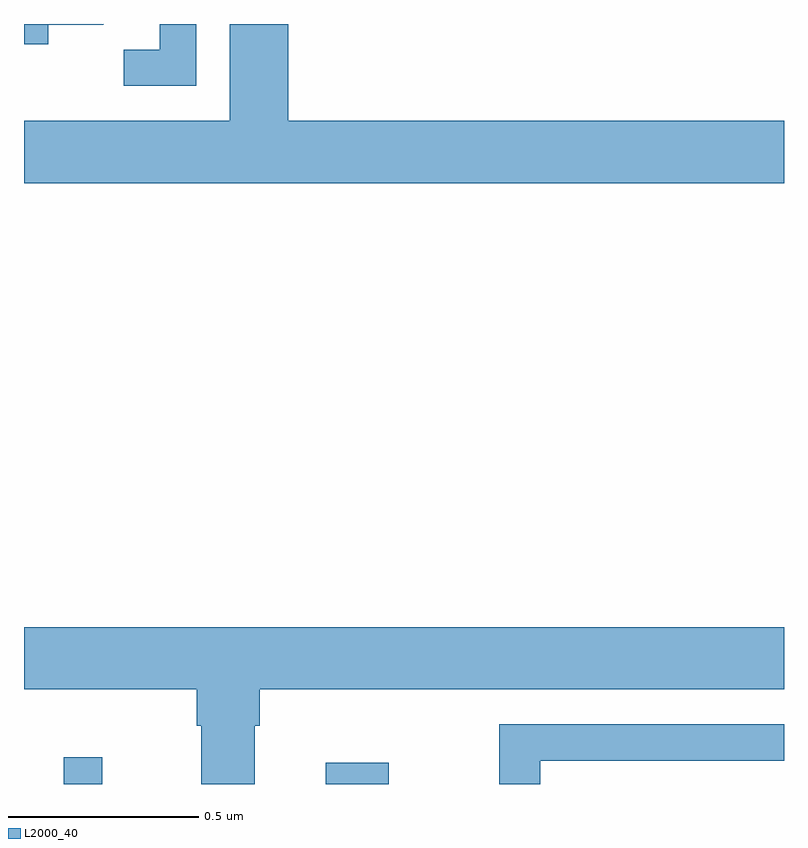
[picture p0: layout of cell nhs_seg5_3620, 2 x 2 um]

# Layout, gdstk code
import gdstk
lib = gdstk.Library(unit=1e-6, precision=1e-09)
def R(c, l, rs):  # rectangles x0, y0, x1, y1
    for r in rs: c.add(gdstk.rectangle(r[:2], r[2:], *l))
def P(c, l, *ps):  # polygons
    for p in ps: c.add(gdstk.Polygon(p, *l))
L2000_40 = (2000, 40)

nhs_seg5_3620 = lib.new_cell('nhs_seg5_3620')
R(nhs_seg5_3620, L2000_40, [(159.104,901.799,159.206,901.87), (159.794,901.799,159.96,901.855)])
P(nhs_seg5_3620, L2000_40, [(161,903.544),(159.695,903.544),(159.695,903.799),(159.542,903.799),(159.542,903.544),(159,903.544),(159,903.38),(161,903.38)],
  [(159.453,903.799),(159.357,903.799),(159.357,903.731),(159.262,903.731),(159.262,903.636),(159.453,903.636)],
  [(159.064,903.797),(159.208,903.797),(159.21,903.799),(159,903.799),(159,903.746),(159.064,903.746)],
  [(159.607,901.952),(159.62,901.952),(159.62,902.048),(161,902.048),(161,902.212),(159,902.212),(159,902.048),(159.455,902.048),(159.455,901.952),(159.467,901.952),(159.467,901.799),(159.607,901.799)],
  [(160.359,901.86),(161,901.86),(161,901.956),(160.251,901.956),(160.251,901.799),(160.359,901.799)])

lib.write_gds('nhs_seg5_3620.gds')
